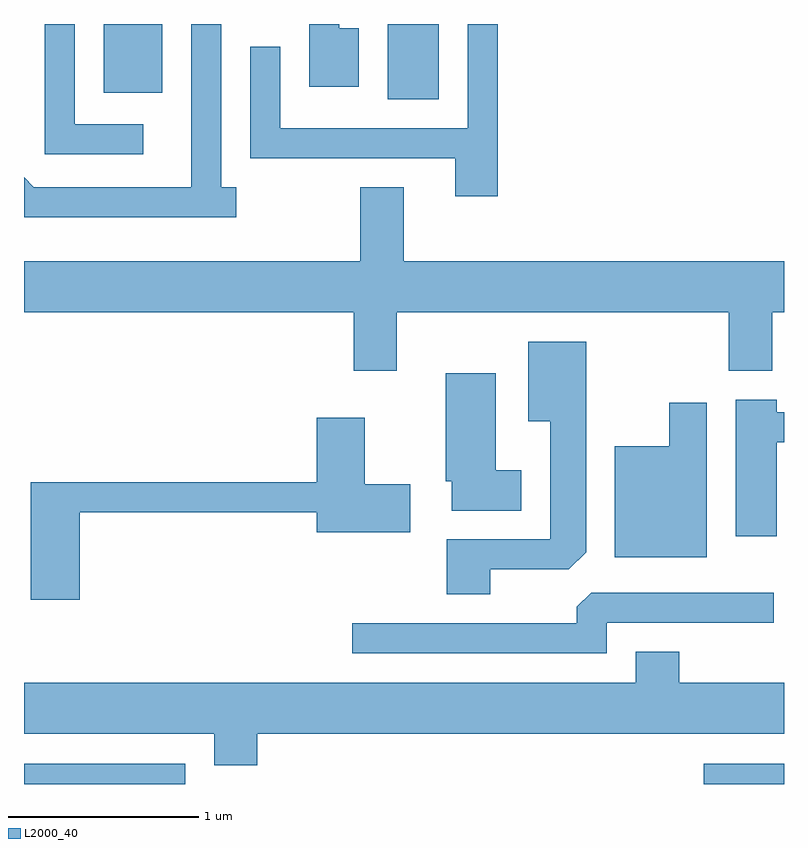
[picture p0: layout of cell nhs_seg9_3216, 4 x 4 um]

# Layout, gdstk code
import gdstk
lib = gdstk.Library(unit=1e-6, precision=1e-09)
def R(c, l, rs):  # rectangles x0, y0, x1, y1
    for r in rs: c.add(gdstk.rectangle(r[:2], r[2:], *l))
def P(c, l, *ps):  # polygons
    for p in ps: c.add(gdstk.Polygon(p, *l))
L2000_40 = (2000, 40)

nhs_seg9_3216 = lib.new_cell('nhs_seg9_3216')
R(nhs_seg9_3216, L2000_40, [(279.611,2000.432,280.459,2000.539), (283.188,2000.432,283.611,2000.539), (281.526,2004.036,281.794,2004.432), (280.031,2004.071,280.339,2004.432)])
P(nhs_seg9_3216, L2000_40, [(280.238,2003.904),(279.879,2003.904),(279.879,2004.432),(279.721,2004.432),(279.721,2003.746),(280.238,2003.746)],
  [(281.374,2004.409),(281.269,2004.409),(281.269,2004.432),(281.111,2004.432),(281.111,2004.101),(281.374,2004.101)],
  [(282.104,2004.432),(281.946,2004.432),(281.946,2003.884),(280.959,2003.884),(280.959,2004.313),(280.801,2004.313),(280.801,2003.726),(281.881,2003.726),(281.881,2003.526),(282.104,2003.526)],
  [(280.728,2003.574),(280.649,2003.574),(280.649,2004.432),(280.491,2004.432),(280.491,2003.574),(279.662,2003.574),(279.611,2003.625),(279.611,2003.416),(280.728,2003.416)],
  [(281.574,2002.916),(283.321,2002.916),(283.321,2002.606),(283.549,2002.606),(283.549,2002.916),(283.611,2002.916),(283.611,2003.184),(281.609,2003.184),(281.609,2003.574),(281.381,2003.574),(281.381,2003.184),(279.611,2003.184),(279.611,2002.916),(281.346,2002.916),(281.346,2002.606),(281.574,2002.606)],
  [(282.064,2001.561),(282.479,2001.561),(282.569,2001.652),(282.569,2002.759),(282.266,2002.759),(282.266,2002.341),(282.381,2002.341),(282.381,2001.719),(281.836,2001.719),(281.836,2001.431),(282.064,2001.431)],
  [(282.229,2002.084),(282.094,2002.084),(282.094,2002.594),(281.831,2002.594),(281.831,2002.026),(281.861,2002.026),(281.861,2001.871),(282.229,2001.871)],
  [(283.574,2002.231),(283.611,2002.231),(283.611,2002.389),(283.574,2002.389),(283.574,2002.454),(283.356,2002.454),(283.356,2001.736),(283.574,2001.736)],
  [(283.204,2002.439),(283.006,2002.439),(283.006,2002.209),(282.721,2002.209),(282.721,2001.626),(283.204,2001.626)],
  [(279.904,2001.861),(281.151,2001.861),(281.151,2001.756),(281.644,2001.756),(281.644,2002.009),(281.404,2002.009),(281.404,2002.359),(281.151,2002.359),(281.151,2002.019),(279.646,2002.019),(279.646,2001.401),(279.904,2001.401)],
  [(282.679,2001.281),(283.558,2001.281),(283.558,2001.439),(282.597,2001.439),(282.521,2001.364),(282.521,2001.279),(281.338,2001.279),(281.338,2001.121),(282.679,2001.121)],
  [(280.839,2000.696),(283.611,2000.696),(283.611,2000.964),(283.059,2000.964),(283.059,2001.129),(282.831,2001.129),(282.831,2000.964),(279.611,2000.964),(279.611,2000.696),(280.611,2000.696),(280.611,2000.531),(280.839,2000.531)])

lib.write_gds('nhs_seg9_3216.gds')
